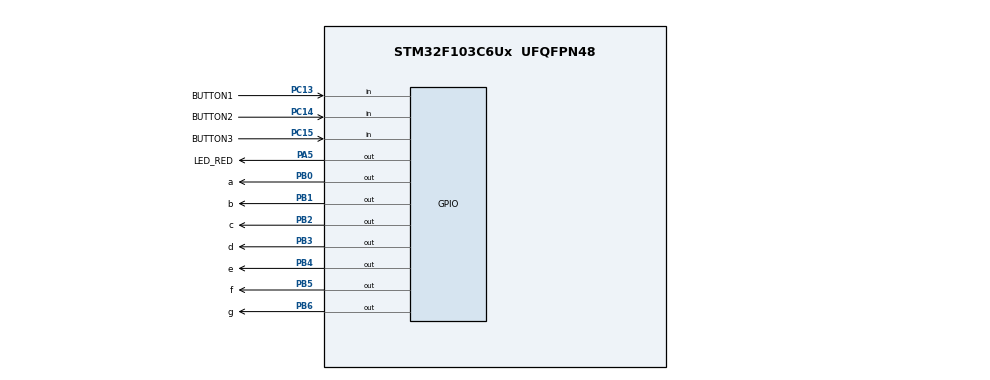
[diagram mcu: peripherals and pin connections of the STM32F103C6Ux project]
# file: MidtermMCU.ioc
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Mcu.Family=STM32F1
Mcu.Name=STM32F103C6Ux
Mcu.Package=UFQFPN48
NVIC.PriorityGroup=NVIC_PRIORITYGROUP_4
NVIC.TIM2_IRQn=true\:0\:0\:false\:false\:true\:true\:true
PA5.GPIO_Label=LED_RED
PA5.Signal=GPIO_Output
PB0.GPIO_Label=a
PB0.Signal=GPIO_Output
PB1.GPIO_Label=b
PB1.Signal=GPIO_Output
PB2.GPIO_Label=c
PB2.Signal=GPIO_Output
PB3.GPIO_Label=d
PB3.Signal=GPIO_Output
PB4.GPIO_Label=e
PB4.Signal=GPIO_Output
PB5.GPIO_Label=f
PB5.Signal=GPIO_Output
PB6.GPIO_Label=g
PB6.Signal=GPIO_Output
PC13-TAMPER-RTC.GPIO_Label=BUTTON1
PC13-TAMPER-RTC.GPIO_PuPd=GPIO_PULLUP
PC13-TAMPER-RTC.Signal=GPIO_Input
PC14-OSC32_IN.GPIO_Label=BUTTON2
PC14-OSC32_IN.GPIO_PuPd=GPIO_PULLUP
PC14-OSC32_IN.Signal=GPIO_Input
PC15-OSC32_OUT.GPIO_Label=BUTTON3
PC15-OSC32_OUT.GPIO_PuPd=GPIO_PULLUP
PC15-OSC32_OUT.Signal=GPIO_Input
ProjectManager.HeapSize=0x200
ProjectManager.StackSize=0x400
ProjectManager.TargetToolchain=STM32CubeIDE
RCC.APB1Freq_Value=8000000
RCC.APB2Freq_Value=8000000
TIM2.Period=9
TIM2.Prescaler=7999
VP_SYS_VS_ND.Mode=No_Debug
VP_TIM2_VS_ClockSourceINT.Mode=Internal
board=custom

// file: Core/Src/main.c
/* USER CODE BEGIN Header */
/**
  ******************************************************************************
  * @file           : main.c
  * @brief          : Main program body
  ******************************************************************************
  * @attention
  *
  * <h2><center>&copy; Copyright (c) 2022 STMicroelectronics.
  * All rights reserved.</center></h2>
  *
  * This software component is licensed by ST under BSD 3-Clause license,
  * the "License"; You may not use this file except in compliance with the
  * License. You may obtain a copy of the License at:
  *                        opensource.org/licenses/BSD-3-Clause
  *
  ******************************************************************************
  */
/* USER CODE END Header */
#include "main.h"

/* USER CODE BEGIN Includes */
#include "global.h"
#include "timer.h"
#include "led7_display.h"
#include "fsm_automatic.h"
/* USER CODE END Includes */

TIM_HandleTypeDef htim2;

void SystemClock_Config(void);
static void MX_GPIO_Init(void);
static void MX_TIM2_Init(void);

int main(void)
{

  /* MCU Configuration--------------------------------------------------------*/

  /* Reset of all peripherals, Initializes the Flash interface and the Systick. */
  HAL_Init();

  /* Configure the system clock */
  SystemClock_Config();

  /* Initialize all configured peripherals */
  MX_GPIO_Init();
  MX_TIM2_Init();
  /* USER CODE BEGIN 2 */
  HAL_TIM_Base_Start_IT(& htim2);
  /* USER CODE END 2 */

  /* Infinite loop */
  /* USER CODE BEGIN WHILE */
  setTimer1(10);
  setTimer2(1000);
  Init();
  while (1)
  {
    /* USER CODE END WHILE */

    /* USER CODE BEGIN 3 */
	  if(Timer1_flag())
	  {
		  fsm_simple_buttons_run();
		  display7SEG(number);
		  setTimer1(10);
	  }
	  if(Timer2_flag())
	  {
		  if(IncreaseNumberM1)
		  {
			  number = number + 1 > 9 ? 0 : number + 1;
		  }
		  else if(DecreaseNumberM1)
		  {
			  number = number - 1 < 0 ? 9 : number - 1;
		  }
		  else if(DecreaseNumberM2)
		  {
			  number = number - 1 < 0 ? 9 : number - 1;
		  }
		  HAL_GPIO_TogglePin(LED_RED_GPIO_Port, LED_RED_Pin);
		  setTimer2(1000);
	  }
  }
  /* USER CODE END 3 */
}

void SystemClock_Config(void)
{
  RCC_OscInitTypeDef RCC_OscInitStruct = {0};
  RCC_ClkInitTypeDef RCC_ClkInitStruct = {0};

  /** Initializes the RCC Oscillators according to the specified parameters
  * in the RCC_OscInitTypeDef structure.
  */
  RCC_OscInitStruct.OscillatorType = RCC_OSCILLATORTYPE_HSI;
  RCC_OscInitStruct.HSIState = RCC_HSI_ON;
  RCC_OscInitStruct.HSICalibrationValue = RCC_HSICALIBRATION_DEFAULT;
  RCC_OscInitStruct.PLL.PLLState = RCC_PLL_NONE;
  if (HAL_RCC_OscConfig(&RCC_OscInitStruct) != HAL_OK)
  {
    Error_Handler();
  }
  /** Initializes the CPU, AHB and APB buses clocks
  */
  RCC_ClkInitStruct.ClockType = RCC_CLOCKTYPE_HCLK|RCC_CLOCKTYPE_SYSCLK
                              |RCC_CLOCKTYPE_PCLK1|RCC_CLOCKTYPE_PCLK2;
  RCC_ClkInitStruct.SYSCLKSource = RCC_SYSCLKSOURCE_HSI;
  RCC_ClkInitStruct.AHBCLKDivider = RCC_SYSCLK_DIV1;
  RCC_ClkInitStruct.APB1CLKDivider = RCC_HCLK_DIV1;
  RCC_ClkInitStruct.APB2CLKDivider = RCC_HCLK_DIV1;

  if (HAL_RCC_ClockConfig(&RCC_ClkInitStruct, FLASH_LATENCY_0) != HAL_OK)
  {
    Error_Handler();
  }
}

static void MX_TIM2_Init(void)
{

  TIM_ClockConfigTypeDef sClockSourceConfig = {0};
  TIM_MasterConfigTypeDef sMasterConfig = {0};

  htim2.Instance = TIM2;
  htim2.Init.Prescaler = 7999;
  htim2.Init.CounterMode = TIM_COUNTERMODE_UP;
  htim2.Init.Period = 9;
  htim2.Init.ClockDivision = TIM_CLOCKDIVISION_DIV1;
  htim2.Init.AutoReloadPreload = TIM_AUTORELOAD_PRELOAD_DISABLE;
  if (HAL_TIM_Base_Init(&htim2) != HAL_OK)
  {
    Error_Handler();
  }
  sClockSourceConfig.ClockSource = TIM_CLOCKSOURCE_INTERNAL;
  if (HAL_TIM_ConfigClockSource(&htim2, &sClockSourceConfig) != HAL_OK)
  {
    Error_Handler();
  }
  sMasterConfig.MasterOutputTrigger = TIM_TRGO_RESET;
  sMasterConfig.MasterSlaveMode = TIM_MASTERSLAVEMODE_DISABLE;
  if (HAL_TIMEx_MasterConfigSynchronization(&htim2, &sMasterConfig) != HAL_OK)
  {
    Error_Handler();
  }

}

static void MX_GPIO_Init(void)
{
  GPIO_InitTypeDef GPIO_InitStruct = {0};

  /* GPIO Ports Clock Enable */
  __HAL_RCC_GPIOC_CLK_ENABLE();
  __HAL_RCC_GPIOA_CLK_ENABLE();
  __HAL_RCC_GPIOB_CLK_ENABLE();

  /*Configure GPIO pin Output Level */
  HAL_GPIO_WritePin(LED_RED_GPIO_Port, LED_RED_Pin, GPIO_PIN_RESET);

  /*Configure GPIO pin Output Level */
  HAL_GPIO_WritePin(GPIOB, a_Pin|b_Pin|c_Pin|d_Pin
                          |e_Pin|f_Pin|g_Pin, GPIO_PIN_RESET);

  /*Configure GPIO pins : BUTTON1_Pin BUTTON2_Pin BUTTON3_Pin */
  GPIO_InitStruct.Pin = BUTTON1_Pin|BUTTON2_Pin|BUTTON3_Pin;
  GPIO_InitStruct.Mode = GPIO_MODE_INPUT;
  GPIO_InitStruct.Pull = GPIO_PULLUP;
  HAL_GPIO_Init(GPIOC, &GPIO_InitStruct);

  /*Configure GPIO pin : LED_RED_Pin */
  GPIO_InitStruct.Pin = LED_RED_Pin;
  GPIO_InitStruct.Mode = GPIO_MODE_OUTPUT_PP;
  GPIO_InitStruct.Pull = GPIO_NOPULL;
  GPIO_InitStruct.Speed = GPIO_SPEED_FREQ_LOW;
  HAL_GPIO_Init(LED_RED_GPIO_Port, &GPIO_InitStruct);

  /*Configure GPIO pins : a_Pin b_Pin c_Pin d_Pin
                           e_Pin f_Pin g_Pin */
  GPIO_InitStruct.Pin = a_Pin|b_Pin|c_Pin|d_Pin
                          |e_Pin|f_Pin|g_Pin;
  GPIO_InitStruct.Mode = GPIO_MODE_OUTPUT_PP;
  GPIO_InitStruct.Pull = GPIO_NOPULL;
  GPIO_InitStruct.Speed = GPIO_SPEED_FREQ_LOW;
  HAL_GPIO_Init(GPIOB, &GPIO_InitStruct);

}

void Error_Handler(void)
{
  __disable_irq();
  while (1)
  {
  }
}

/************************ (C) COPYRIGHT STMicroelectronics *****END OF FILE****/
